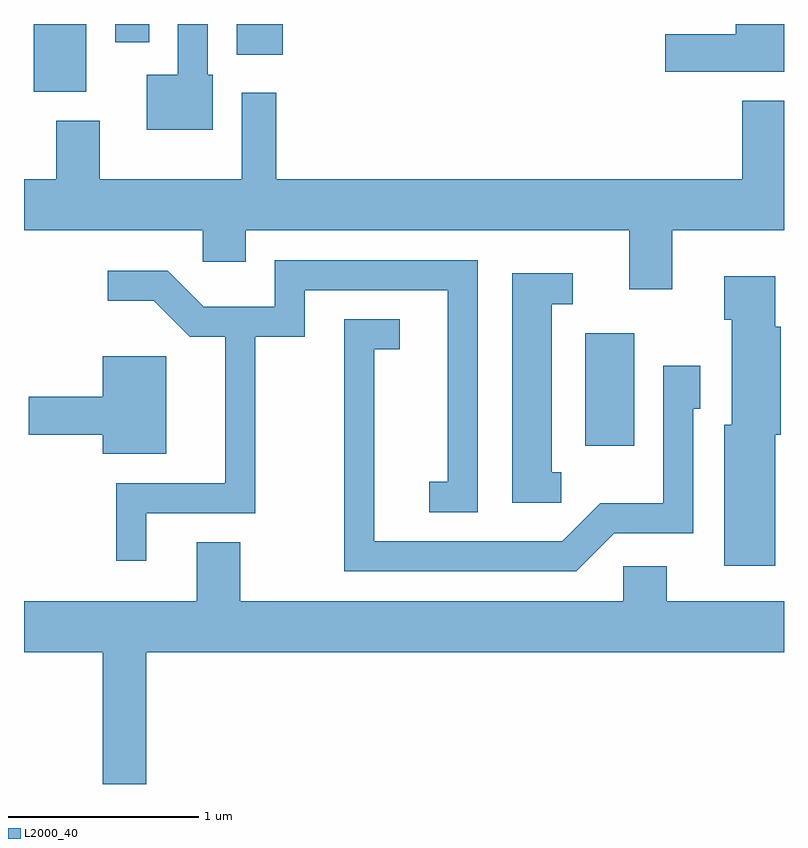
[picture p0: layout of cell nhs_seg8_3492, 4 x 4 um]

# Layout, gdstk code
import gdstk
lib = gdstk.Library(unit=1e-6, precision=1e-09)
def R(c, l, rs):  # rectangles x0, y0, x1, y1
    for r in rs: c.add(gdstk.rectangle(r[:2], r[2:], *l))
def P(c, l, *ps):  # polygons
    for p in ps: c.add(gdstk.Polygon(p, *l))
L2000_40 = (2000, 40)

nhs_seg8_3492 = lib.new_cell('nhs_seg8_3492')
R(nhs_seg8_3492, L2000_40, [(292.566,1884.121,292.824,1884.714), (289.661,1885.986,289.939,1886.342), (290.731,1886.181,290.974,1886.342), (290.091,1886.246,290.269,1886.342)])
P(nhs_seg8_3492, L2000_40, [(293.611,1886.342),(293.356,1886.342),(293.356,1886.289),(292.986,1886.289),(292.986,1886.091),(293.611,1886.091)],
  [(290.604,1886.074),(290.579,1886.074),(290.579,1886.342),(290.421,1886.342),(290.421,1886.074),(290.256,1886.074),(290.256,1885.786),(290.604,1885.786)],
  [(293.024,1885.256),(293.611,1885.256),(293.611,1885.939),(293.391,1885.939),(293.391,1885.524),(290.939,1885.524),(290.939,1885.979),(290.756,1885.979),(290.756,1885.524),(290.009,1885.524),(290.009,1885.834),(289.781,1885.834),(289.781,1885.524),(289.611,1885.524),(289.611,1885.256),(290.551,1885.256),(290.551,1885.091),(290.779,1885.091),(290.779,1885.256),(292.796,1885.256),(292.796,1884.946),(293.024,1884.946)],
  [(290.254,1883.766),(290.829,1883.766),(290.829,1884.696),(291.089,1884.696),(291.089,1884.941),(291.841,1884.941),(291.841,1883.934),(291.743,1883.934),(291.743,1883.771),(291.999,1883.771),(291.999,1885.099),(290.931,1885.099),(290.931,1884.854),(290.557,1884.854),(290.367,1885.044),(290.053,1885.044),(290.053,1884.886),(290.294,1884.886),(290.484,1884.696),(290.671,1884.696),(290.671,1883.924),(290.096,1883.924),(290.096,1883.518),(290.254,1883.518)],
  [(292.438,1883.984),(292.389,1883.984),(292.389,1884.866),(292.498,1884.866),(292.498,1885.029),(292.181,1885.029),(292.181,1883.821),(292.438,1883.821)],
  [(293.564,1884.181),(293.594,1884.181),(293.594,1884.749),(293.564,1884.749),(293.564,1885.014),(293.296,1885.014),(293.296,1884.786),(293.336,1884.786),(293.336,1884.234),(293.296,1884.234),(293.296,1883.491),(293.564,1883.491)],
  [(292.717,1883.661),(293.134,1883.661),(293.134,1884.316),(293.169,1884.316),(293.169,1884.544),(292.976,1884.544),(292.976,1883.819),(292.644,1883.819),(292.444,1883.619),(291.454,1883.619),(291.454,1884.631),(291.588,1884.631),(291.588,1884.789),(291.296,1884.789),(291.296,1883.461),(292.517,1883.461)],
  [(290.359,1884.594),(290.026,1884.594),(290.026,1884.379),(289.636,1884.379),(289.636,1884.181),(290.026,1884.181),(290.026,1884.081),(290.359,1884.081)],
  [(290.254,1883.036),(293.611,1883.036),(293.611,1883.304),(292.994,1883.304),(292.994,1883.489),(292.766,1883.489),(292.766,1883.304),(290.749,1883.304),(290.749,1883.614),(290.521,1883.614),(290.521,1883.304),(289.611,1883.304),(289.611,1883.036),(290.026,1883.036),(290.026,1882.342),(290.254,1882.342)])

lib.write_gds('nhs_seg8_3492.gds')
